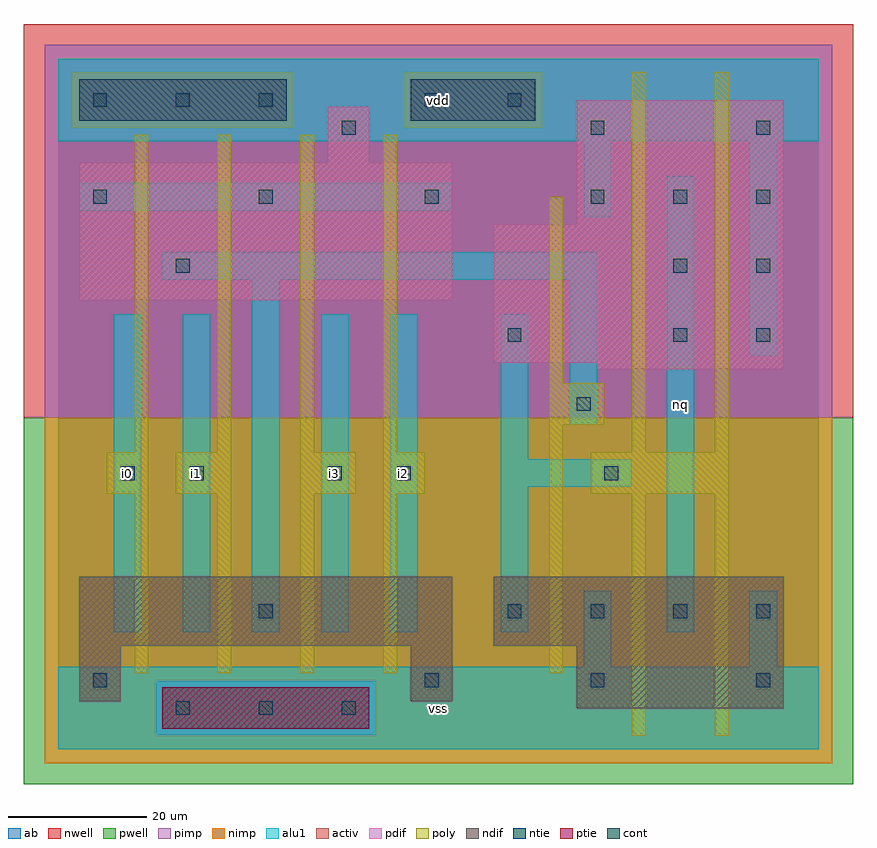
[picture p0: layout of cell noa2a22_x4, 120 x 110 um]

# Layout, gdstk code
import gdstk
lib = gdstk.Library(unit=1e-6, precision=1e-09)
def R(c, l, rs):  # rectangles x0, y0, x1, y1
    for r in rs: c.add(gdstk.rectangle(r[:2], r[2:], *l))
def A(c, l, x, y, w, h, nx, ny, dx, dy):  # array of equal rectangles
    R(c, l, [(x+i*dx, y+j*dy, x+i*dx+w, y+j*dy+h) for i in range(nx) for j in range(ny)])
ndif = (3, 0)
pdif = (4, 0)
ntie = (5, 0)
ptie = (6, 0)
cont = (25, 0)
pwell = (41, 0)
nwell = (42, 0)
activ = (43, 0)
pimp = (44, 0)
nimp = (45, 0)
poly = (46, 0)
alu1 = (49, 0)
ab = (63, 0)

noa2a22_x4 = lib.new_cell('noa2a22_x4')
R(noa2a22_x4, ndif, [(75,6,105,15), (3,7,9,15), (51,7,57,15), (3,15,57,25), (63,15,105,25)])
R(noa2a22_x4, pdif, [(78,55,105,56), (63,56,105,76), (3,65,57,85), (75,76,105,94), (39,85,45,93)])
R(noa2a22_x4, ntie, [(3,91,33,97), (51,91,69,97)])
R(noa2a22_x4, ptie, [(15,3,45,9)])
A(noa2a22_x4, cont, 17, 5, 2, 2, 3, 1, 12, 0)
A(noa2a22_x4, cont, 53, 9, 2, 2, 3, 1, 24, 0)
A(noa2a22_x4, cont, 65, 19, 2, 2, 4, 1, 12, 0)
A(noa2a22_x4, cont, 89, 59, 2, 2, 1, 3, 0, 10)
A(noa2a22_x4, cont, 101, 59, 2, 2, 1, 4, 0, 10)
A(noa2a22_x4, cont, 5, 79, 2, 2, 4, 1, 24, 0)
A(noa2a22_x4, cont, 5, 93, 2, 2, 3, 1, 12, 0)
R(noa2a22_x4, cont, [(5,9,7,11), (29,19,31,21), (9,39,11,41), (19,39,21,41), (39,39,41,41), (49,39,51,41), (79,39,81,41), (75,49,77,51), (65,59,67,61), (17,69,19,71), (41,89,43,91), (77,89,79,91), (53,93,55,95), (65,93,67,95)])
R(noa2a22_x4, pwell, [(-5,-5,115,48)])
R(noa2a22_x4, nwell, [(-5,48,115,105)])
R(noa2a22_x4, activ, [(15,3,45,9), (75,6,105,15), (3,7,9,15), (51,7,57,15), (3,15,57,25), (63,15,105,25), (78,55,105,56), (63,56,105,76), (3,65,57,85), (75,76,105,94), (39,85,45,93), (3,91,33,97), (51,91,69,97)])
R(noa2a22_x4, pimp, [(14,2,46,10), (-2,48,112,90), (-2,90,2,98), (34,90,50,98), (70,90,112,98), (-2,98,112,102)])
R(noa2a22_x4, nimp, [(-2,-2,112,2), (-2,2,14,10), (46,2,112,10), (-2,10,112,48), (2,90,34,98), (50,90,70,98)])
A(noa2a22_x4, poly, 11, 11, 2, 26, 4, 1, 12, 0)
A(noa2a22_x4, poly, 11, 43, 2, 46, 4, 1, 12, 0)
R(noa2a22_x4, poly, [(83,2,85,37), (95,2,97,37), (71,11,73,47), (7,37,13,43), (17,37,25,43), (35,37,43,43), (47,37,53,43), (77,37,97,43), (83,43,85,98), (95,43,97,98), (71,47,79,53), (71,53,73,80)])
R(noa2a22_x4, alu1, [(0,0,110,12), (76,12,80,23), (100,12,104,23), (8,17,12,63), (18,17,22,63), (28,17,32,68), (38,17,42,63), (48,17,52,63), (64,17,68,38), (88,17,92,83), (64,38,83,42), (64,42,68,63), (74,47,78,68), (100,57,104,88), (15,68,78,72), (76,77,80,88), (3,78,57,82), (0,88,110,100)])
R(noa2a22_x4, ab, [(0,0,110,100)])
noa2a22_x4.add(gdstk.Label('i0', (10,40), layer=49, texttype=0))
noa2a22_x4.add(gdstk.Label('i1', (20,40), layer=49, texttype=0))
noa2a22_x4.add(gdstk.Label('i3', (40,40), layer=49, texttype=0))
noa2a22_x4.add(gdstk.Label('i2', (50,40), layer=49, texttype=0))
noa2a22_x4.add(gdstk.Label('vss', (55,6), layer=49, texttype=0))
noa2a22_x4.add(gdstk.Label('vdd', (55,94), layer=49, texttype=0))
noa2a22_x4.add(gdstk.Label('nq', (90,50), layer=49, texttype=0))

lib.write_gds('noa2a22_x4.gds')
